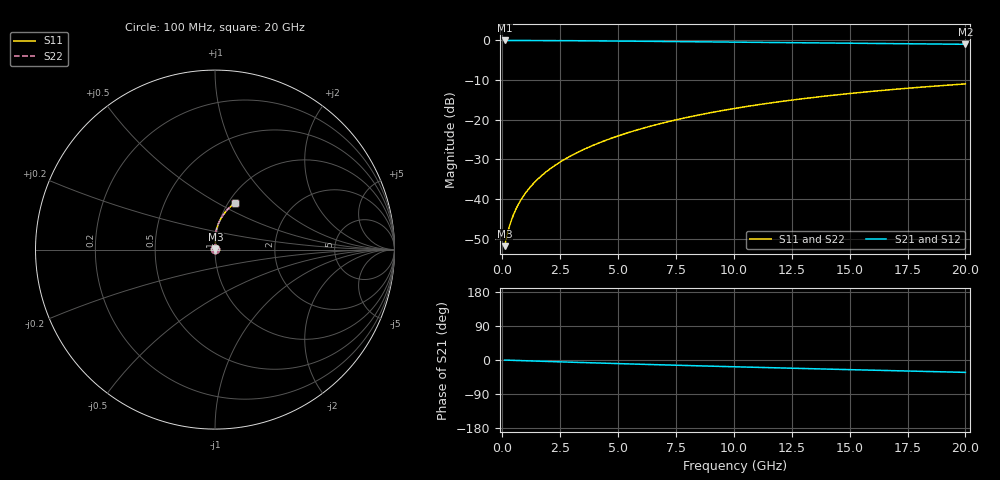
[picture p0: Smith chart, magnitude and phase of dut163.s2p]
! Touchstone file exported from HFSS 2024.1.0
!  File:  C:/UserFiles/LocalFiles/RDL_TSV_Batchsim/temp_RDL_top_163_1778685549.aedt
!  Generated:  11:21:15 PM May 13, 2026
!  Design:  RDL_top
!  Project:  temp_RDL_top_163_1778685549
!  Setup:  Setup1
!  Solution:  Sweep
! Variables:
!  dtsv = 10.80580581um
!  hbump = 3um
!  htsv = 81.57um
!  ldown = 100um
!  lrdl = 460.9um
!  p = 40
!  p1 = 51.25um
!  rhole = 1um
!  t = 450um
!  tdown = 3.915915916um
!  trdl = 3.2um
!  wdown = 15.38538539um
!  wrdl = 26.64um
# GHz S MA R 50.000000
! Terminal data exported
! Port[1] = Box2_T1
! Port[2] = Box2_T2
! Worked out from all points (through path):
!   200 points, 100 MHz to 20 GHz, reference 50 ohm
!   highest |S21| = -0.02 dB at 100 MHz (marker M1); lowest = -1.0 dB at 20 GHz (marker M2)
!   group delay of S21, straight-line fit = 4.48 ps
!   lowest |S11| = -51.9 dB at 100 MHz (marker M3), VSWR 1.01, Z = 50.2 + j0.134 ohm
!   |S11| at or under -10 dB: start of sweep to end of sweep
!   |S22| runs from -51.9 to -11.0 dB; largest |S21 - S12| = 3.2e-15
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0.1  0.002553 31.4  0.9978 -0.2  0.9978 -0.2  0.002553 31.4
! Gamma 0 0 0 0
! Port Impedance 50 0 50 0
0.2  0.003463 48.3  0.9977 -0.4  0.9977 -0.4  0.003463 48.3
0.3  0.004479 57.2  0.9975 -0.6  0.9975 -0.6  0.004479 57.2
0.4  0.005509 62.8  0.9973 -0.8  0.9973 -0.8  0.005509 62.8
0.5  0.006543 66.8  0.9971 -1.0  0.9971 -1.0  0.006543 66.8
0.6  0.007587 69.9  0.997 -1.2  0.997 -1.2  0.007587 69.9
0.8  0.009712 74.4  0.9967 -1.6  0.9967 -1.6  0.009712 74.4
1.1  0.01299 78.7  0.9962 -2.2  0.9962 -2.2  0.01299 78.7
1.3  0.01522 80.6  0.9958 -2.6  0.9958 -2.6  0.01522 80.6
1.6  0.01864 82.8  0.9951 -3.2  0.9951 -3.2  0.01864 82.8
2.1  0.0245 85.3  0.9937 -4.1  0.9937 -4.1  0.0245 85.3
2.7  0.03181 87.1  0.9916 -5.3  0.9916 -5.3  0.03181 87.1
3.5  0.04201 88.4  0.9882 -6.8  0.9882 -6.8  0.04201 88.4
4.2  0.05137 88.9  0.9848 -8.1  0.9848 -8.1  0.05137 88.9
5  0.06252 89.0  0.9806 -9.5  0.9806 -9.5  0.06252 89.0
6.8  0.08901 87.8  0.9701 -12.6  0.9701 -12.6  0.089 87.8
8.4  0.1135 85.8  0.9605 -15.3  0.9605 -15.3  0.1135 85.8
10.1  0.1399 83.2  0.9502 -18.0  0.9502 -18.0  0.1399 83.2
11.7  0.1647 80.6  0.9407 -20.5  0.9407 -20.5  0.1646 80.6
13.4  0.1904 77.7  0.9307 -23.1  0.9307 -23.1  0.1904 77.7
16.7  0.2383 72.1  0.9116 -28.0  0.9116 -28.0  0.2383 72.0
20  0.2827 66.7  0.8926 -32.7  0.8926 -32.7  0.2826 66.7
